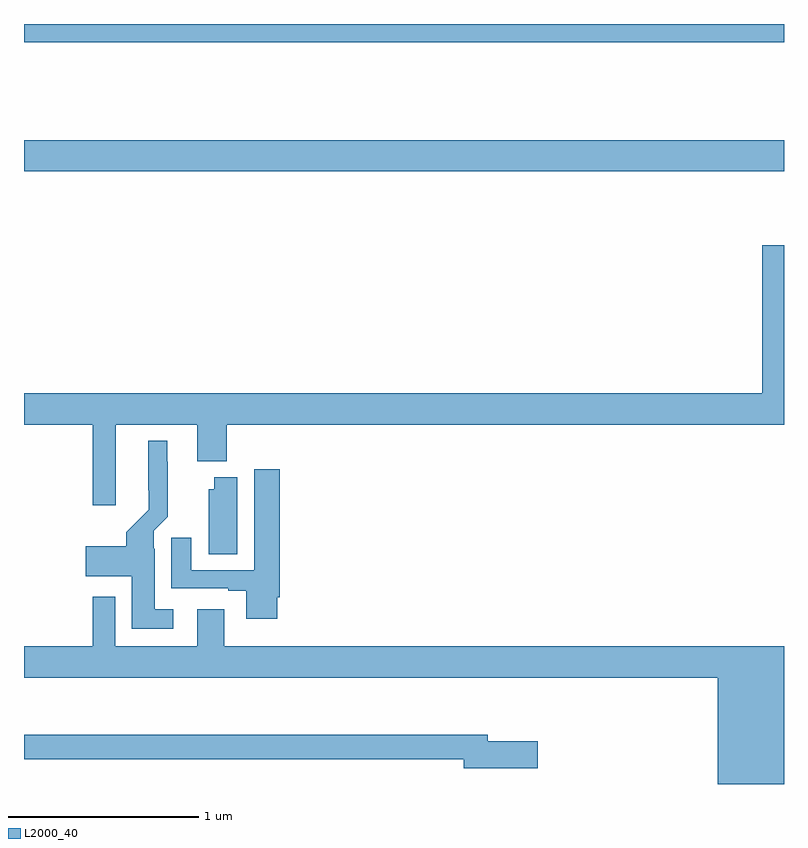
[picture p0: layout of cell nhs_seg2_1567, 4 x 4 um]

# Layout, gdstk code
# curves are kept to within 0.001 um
import gdstk
lib = gdstk.Library(unit=1e-6, precision=1e-09)
def R(c, l, rs):  # rectangles x0, y0, x1, y1
    for r in rs: c.add(gdstk.rectangle(r[:2], r[2:], *l))
def P(c, l, *ps):  # polygons
    for p in ps: c.add(gdstk.Polygon(p, *l))
L2000_40 = (2000, 40)

nhs_seg2_1567 = lib.new_cell('nhs_seg2_1567')
R(nhs_seg2_1567, L2000_40, [(193,593.024,197,593.188), (193,593.704,197,593.8)])
P(nhs_seg2_1567, L2000_40, [(193.483,591.692),(193.913,591.692),(193.913,591.5),(194.066,591.5),(194.066,591.692),(197,591.692),(197,592.636),(196.886,592.636),(196.886,591.856),(193,591.856),(193,591.692),(193.361,591.692),(193.361,591.267),(193.483,591.267)],
  [(193.786,590.719),(193.687,590.719),(193.687,591.038),(193.683,591.038),(193.683,591.132),(193.757,591.206),(193.757,591.497),(193.753,591.497),(193.753,591.607),(193.655,591.607),(193.656,591.244),(193.538,591.126),(193.538,591.052),(193.326,591.052),(193.326,590.894),(193.568,590.894),(193.568,590.618),(193.786,590.618)],
  [(194.332,590.782),(194.345,590.782),(194.345,591.457),(194.213,591.457),(194.213,590.925),(193.879,590.925),(193.879,591.097),(193.775,591.097),(193.775,590.829),(194.075,590.829),(194.075,590.817),(194.171,590.817),(194.171,590.67),(194.332,590.67)],
  [(194.122,591.415),(194,591.415),(194,591.351),(193.973,591.351),(193.973,591.01),(194.122,591.01)],
  [(197,590.524),(194.053,590.524),(194.053,590.719),(193.913,590.719),(193.913,590.524),(193.479,590.524),(193.479,590.785),(193.363,590.785),(193.363,590.524),(193,590.524),(193,590.36),(196.652,590.36),(196.652,589.8),(197,589.8)],
  [(195.703,590.025),(195.442,590.025),(195.442,590.059),(193,590.059),(193,589.93),(195.314,589.93),(195.314,589.883),(195.703,589.883)])

lib.write_gds('nhs_seg2_1567.gds')
